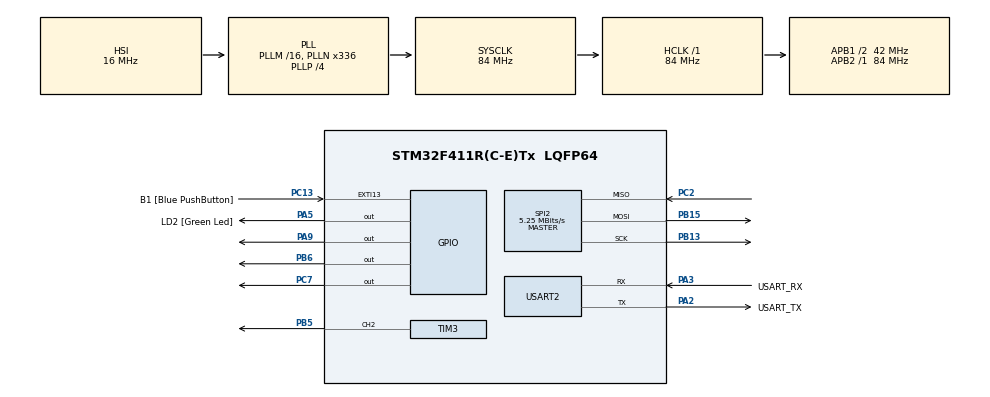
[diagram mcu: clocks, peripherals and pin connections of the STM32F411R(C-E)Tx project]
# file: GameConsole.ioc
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Mcu.Family=STM32F4
Mcu.Name=STM32F411R(C-E)Tx
Mcu.Package=LQFP64
NVIC.PriorityGroup=NVIC_PRIORITYGROUP_0
NVIC.TIM3_IRQn=true\:0\:0\:false\:false\:true\:true\:true\:true
PA13.GPIO_Label=TMS
PA13.Mode=Serial_Wire
PA13.Signal=SYS_JTMS-SWDIO
PA14.GPIO_Label=TCK
PA14.Mode=Serial_Wire
PA14.Signal=SYS_JTCK-SWCLK
PA2.GPIO_Label=USART_TX
PA2.Mode=Asynchronous
PA2.Signal=USART2_TX
PA3.GPIO_Label=USART_RX
PA3.Mode=Asynchronous
PA3.Signal=USART2_RX
PA5.GPIO_Label=LD2 [Green Led]
PA5.Signal=GPIO_Output
PA9.Signal=GPIO_Output
PB13.Mode=Full_Duplex_Master
PB13.Signal=SPI2_SCK
PB15.Mode=Full_Duplex_Master
PB15.Signal=SPI2_MOSI
PB3.GPIO_Label=SWO
PB3.Signal=SYS_JTDO-SWO
PB5.Signal=S_TIM3_CH2
PB6.Signal=GPIO_Output
PC13-ANTI_TAMP.GPIO_Label=B1 [Blue PushButton]
PC13-ANTI_TAMP.GPIO_ModeDefaultEXTI=GPIO_MODE_IT_FALLING
PC13-ANTI_TAMP.Signal=GPXTI13
PC14-OSC32_IN.Signal=RCC_OSC32_IN
PC15-OSC32_OUT.Signal=RCC_OSC32_OUT
PC2.Mode=Full_Duplex_Master
PC2.Signal=SPI2_MISO
PC7.Signal=GPIO_Output
PH0\ -\ OSC_IN.Mode=HSE-External-Oscillator
PH0\ -\ OSC_IN.Signal=RCC_OSC_IN
PH1\ -\ OSC_OUT.Mode=HSE-External-Oscillator
PH1\ -\ OSC_OUT.Signal=RCC_OSC_OUT
ProjectManager.HeapSize=0x200
ProjectManager.StackSize=0x400
ProjectManager.TargetToolchain=CMake
RCC.48MHZClocksFreq_Value=84000000
RCC.AHBFreq_Value=84000000
RCC.APB1CLKDivider=RCC_HCLK_DIV2
RCC.APB1Freq_Value=42000000
RCC.APB1TimFreq_Value=84000000
RCC.APB2Freq_Value=84000000
RCC.APB2TimFreq_Value=84000000
RCC.CortexFreq_Value=84000000
RCC.FLatency-AdvancedSettings=FLASH_LATENCY_2
RCC.HCLKFreq_Value=84000000
RCC.HSE_VALUE=8000000
RCC.HSI_VALUE=16000000
RCC.LSE_VALUE=32768
RCC.PLLN=336
RCC.PLLP=RCC_PLLP_DIV4
RCC.SYSCLKFreq_VALUE=84000000
RCC.SYSCLKSource=RCC_SYSCLKSOURCE_PLLCLK
RCC.VCOOutputFreq_Value=336000000
SH.S_TIM3_CH2.0=TIM3_CH2,PWM Generation2 CH2
SPI2.BaudRatePrescaler=SPI_BAUDRATEPRESCALER_8
SPI2.CalculateBaudRate=5.25 MBits/s
SPI2.Direction=SPI_DIRECTION_2LINES
SPI2.Mode=SPI_MODE_MASTER
SPI2.VirtualType=VM_MASTER
TIM3.Channel-PWM\ Generation2\ CH2=TIM_CHANNEL_2
TIM3.Period=999
TIM3.Prescaler=84-1
TIM3.Pulse-PWM\ Generation2\ CH2=500
USART2.VirtualMode=VM_ASYNC
board=NUCLEO-F411RE

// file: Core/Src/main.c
/* USER CODE BEGIN Header */
/**
  ******************************************************************************
  * @file           : main.c
  * @brief          : Main program body
  ******************************************************************************
  * @attention
  *
  * Copyright (c) 2026 STMicroelectronics.
  * All rights reserved.
  *
  * This software is licensed under terms that can be found in the LICENSE file
  * in the root directory of this software component.
  * If no LICENSE file comes with this software, it is provided AS-IS.
  *
  ******************************************************************************
  */
/* USER CODE END Header */
#include "main.h"

/* USER CODE BEGIN Includes */
#include "ST7735.h"
#include "stm32f411xe.h"
#include "stm32f4xx_hal_conf.h"
#include "stm32f4xx_hal_gpio.h"
#include "stdlib.h"
/* USER CODE END Includes */

SPI_HandleTypeDef hspi2;

TIM_HandleTypeDef htim3;

UART_HandleTypeDef huart2;

/* USER CODE BEGIN PV */
float ballX=45.0f;
float ballY=64.0f;
float ballVelX=1.0f;
float ballVelY=1.0f;
float paddleVel=3.5f;
float paddle1X=45.0f;
float paddle1Y=150.0f;
float paddle2X=45.0f;
float paddle2Y=5.0f;
/* USER CODE END PV */

void SystemClock_Config(void);
static void MX_GPIO_Init(void);
static void MX_SPI2_Init(void);
static void MX_USART2_UART_Init(void);
static void MX_TIM3_Init(void);

int main(void)
{

  /* MCU Configuration--------------------------------------------------------*/

  /* Reset of all peripherals, Initializes the Flash interface and the Systick. */
  HAL_Init();

  /* Configure the system clock */
  SystemClock_Config();

  /* Initialize all configured peripherals */
  MX_GPIO_Init();
  MX_SPI2_Init();
  MX_USART2_UART_Init();
  MX_TIM3_Init();
  //HAL_TIM_PWM_Start(&htim3, TIM_CHANNEL_2);
  /* USER CODE BEGIN 2 */
  ST7735_Init(0);
  ST7735_FillScreen(BLACK);

  //Button
  GPIO_InitTypeDef GPIO_InitStruct = {0};
  GPIO_InitStruct.Pin = GPIO_PIN_7 | GPIO_PIN_8;
  GPIO_InitStruct.Mode = GPIO_MODE_INPUT;
  GPIO_InitStruct.Pull = GPIO_PULLUP;
  HAL_GPIO_Init(GPIOA, &GPIO_InitStruct);

  //Button 2
  GPIO_InitTypeDef GPIO_InitStruct2 = {0};
  GPIO_InitStruct2.Pin = GPIO_PIN_5 | GPIO_PIN_3;
  GPIO_InitStruct2.Mode = GPIO_MODE_INPUT;
  GPIO_InitStruct2.Pull = GPIO_PULLUP;
  HAL_GPIO_Init(GPIOB, &GPIO_InitStruct2);

  /* USER CODE END 2 */

  /* Infinite loop */
  /* USER CODE BEGIN WHILE */
  int initialDir = (rand() % 7)+1;
  while (1)
  {
    /* USER CODE END WHILE */

    /* USER CODE BEGIN 3 */
    ST7735_FillRectangle(paddle2X, paddle2Y, 30, 5, BLACK);
    HAL_Delay(50);
    ST7735_FillRectangle(paddle1X, paddle1Y, 30, 5, BLACK);
    HAL_Delay(50);
    ST7735_FillRectangle(ballX, ballY, 3, 3, BLACK);
    HAL_Delay(50);

    /*
    //ball initial direction
    if (initialDir == 1){
      ballY -= ballVelY;
      ballX -=ballVelX;
    }
    else if (initialDir == 2){
      ballX +=ballVelX;
      ballY -=ballVelY;
    }
    else if (initialDir==3){
      ballY += ballVelY;
      ballX += ballVelX;
    }
    else if (initialDir == 4){
      ballY += ballVelY;
      ballX -= ballVelX;
    }
    else if (initialDir == 5){
      ballY-=ballVelY;
    }
    else if (initialDir == 6){
      ballY -= ballVelY;
      ballX -= ballVelX;
    }
    else if (initialDir == 7){
      ballY += ballVelY;
    }
    */
    //ball movement
    ballY -= ballVelY;

    //paddle movement (player 1)
    if (HAL_GPIO_ReadPin(GPIOA, GPIO_PIN_7) == GPIO_PIN_RESET){
      paddle1X+=paddleVel;
    }
    else if (HAL_GPIO_ReadPin(GPIOA, GPIO_PIN_8) == GPIO_PIN_RESET){
      paddle1X-=paddleVel;
    }

    //paddle movement (player 2)
    if (HAL_GPIO_ReadPin(GPIOB, GPIO_PIN_5) == GPIO_PIN_RESET){
      paddle2X+=paddleVel;
    }
    else if (HAL_GPIO_ReadPin(GPIOB, GPIO_PIN_3) == GPIO_PIN_RESET){
      paddle2X-=paddleVel;
    }

    //ball hitting paddles
    if (ballY <= paddle2Y+3 && ballX >= paddle2X && ballX <= paddle2X+30){
      ballVelY = -ballVelY;
    }
    if (ballY+3 >= paddle1Y && ballX >= paddle1X && ballX <= paddle1X+30){
      ballVelY = -ballVelY;
    }

    //boundaries for paddles
    if ((paddle1X < 0) || (paddle2X < 0)){
      paddle1X = 0;
      paddle2X = 0;
    }
    if ((paddle1X > 98) || (paddle2X > 98)){
      paddle1X = 98;
      paddle2X = 98;
    }

    //boundaries for ball
    if (ballX < 0){
      ballX = 0;
      ballVelX = -ballVelX;
    }
    else if (ballX > 125){
      ballX = 125;
      ballVelX = -ballVelX;
    }

    ST7735_FillRectangle(paddle2X, paddle2Y, 30, 5, WHITE);
    HAL_Delay(50);
    ST7735_FillRectangle(paddle1X, paddle1Y, 30, 5, WHITE);
    HAL_Delay(50);
    ST7735_FillRectangle(ballX, ballY, 3, 3, WHITE);

    /* Initial tests for screen and button
    ST7735_FillScreen(RED);
    ST7735_SetRotation(0);
    ST7735_WriteString(0, 0, "Hello World!", Font_16x26, WHITE, BLACK);
    HAL_Delay(5000);
    if (HAL_GPIO_ReadPin(GPIOA, GPIO_PIN_7) == GPIO_PIN_SET)
    {
      ST7735_FillScreen(BLUE);
      HAL_Delay(2000);
    }
    else if (HAL_GPIO_ReadPin(GPIOA, GPIO_PIN_7) ==GPIO_PIN_RESET){

      ST7735_FillScreen(RED);
      HAL_Delay(2000);
    }
    */
  }
  /* USER CODE END 3 */
}

void SystemClock_Config(void)
{
  RCC_OscInitTypeDef RCC_OscInitStruct = {0};
  RCC_ClkInitTypeDef RCC_ClkInitStruct = {0};

  /** Configure the main internal regulator output voltage
  */
  __HAL_RCC_PWR_CLK_ENABLE();
  __HAL_PWR_VOLTAGESCALING_CONFIG(PWR_REGULATOR_VOLTAGE_SCALE1);

  /** Initializes the RCC Oscillators according to the specified parameters
  * in the RCC_OscInitTypeDef structure.
  */
  RCC_OscInitStruct.OscillatorType = RCC_OSCILLATORTYPE_HSI;
  RCC_OscInitStruct.HSIState = RCC_HSI_ON;
  RCC_OscInitStruct.HSICalibrationValue = RCC_HSICALIBRATION_DEFAULT;
  RCC_OscInitStruct.PLL.PLLState = RCC_PLL_ON;
  RCC_OscInitStruct.PLL.PLLSource = RCC_PLLSOURCE_HSI;
  RCC_OscInitStruct.PLL.PLLM = 16;
  RCC_OscInitStruct.PLL.PLLN = 336;
  RCC_OscInitStruct.PLL.PLLP = RCC_PLLP_DIV4;
  RCC_OscInitStruct.PLL.PLLQ = 4;
  if (HAL_RCC_OscConfig(&RCC_OscInitStruct) != HAL_OK)
  {
    Error_Handler();
  }

  /** Initializes the CPU, AHB and APB buses clocks
  */
  RCC_ClkInitStruct.ClockType = RCC_CLOCKTYPE_HCLK|RCC_CLOCKTYPE_SYSCLK
                              |RCC_CLOCKTYPE_PCLK1|RCC_CLOCKTYPE_PCLK2;
  RCC_ClkInitStruct.SYSCLKSource = RCC_SYSCLKSOURCE_PLLCLK;
  RCC_ClkInitStruct.AHBCLKDivider = RCC_SYSCLK_DIV1;
  RCC_ClkInitStruct.APB1CLKDivider = RCC_HCLK_DIV2;
  RCC_ClkInitStruct.APB2CLKDivider = RCC_HCLK_DIV1;

  if (HAL_RCC_ClockConfig(&RCC_ClkInitStruct, FLASH_LATENCY_2) != HAL_OK)
  {
    Error_Handler();
  }
}

static void MX_SPI2_Init(void)
{

  /* SPI2 parameter configuration*/
  hspi2.Instance = SPI2;
  hspi2.Init.Mode = SPI_MODE_MASTER;
  hspi2.Init.Direction = SPI_DIRECTION_2LINES;
  hspi2.Init.DataSize = SPI_DATASIZE_8BIT;
  hspi2.Init.CLKPolarity = SPI_POLARITY_LOW;
  hspi2.Init.CLKPhase = SPI_PHASE_1EDGE;
  hspi2.Init.NSS = SPI_NSS_SOFT;
  hspi2.Init.BaudRatePrescaler = SPI_BAUDRATEPRESCALER_8;
  hspi2.Init.FirstBit = SPI_FIRSTBIT_MSB;
  hspi2.Init.TIMode = SPI_TIMODE_DISABLE;
  hspi2.Init.CRCCalculation = SPI_CRCCALCULATION_DISABLE;
  hspi2.Init.CRCPolynomial = 10;
  if (HAL_SPI_Init(&hspi2) != HAL_OK)
  {
    Error_Handler();
  }

}

static void MX_TIM3_Init(void)
{

  TIM_MasterConfigTypeDef sMasterConfig = {0};
  TIM_OC_InitTypeDef sConfigOC = {0};

  htim3.Instance = TIM3;
  htim3.Init.Prescaler = 84-1;
  htim3.Init.CounterMode = TIM_COUNTERMODE_UP;
  htim3.Init.Period = 999;
  htim3.Init.ClockDivision = TIM_CLOCKDIVISION_DIV1;
  htim3.Init.AutoReloadPreload = TIM_AUTORELOAD_PRELOAD_DISABLE;
  if (HAL_TIM_PWM_Init(&htim3) != HAL_OK)
  {
    Error_Handler();
  }
  sMasterConfig.MasterOutputTrigger = TIM_TRGO_RESET;
  sMasterConfig.MasterSlaveMode = TIM_MASTERSLAVEMODE_DISABLE;
  if (HAL_TIMEx_MasterConfigSynchronization(&htim3, &sMasterConfig) != HAL_OK)
  {
    Error_Handler();
  }
  sConfigOC.OCMode = TIM_OCMODE_PWM1;
  sConfigOC.Pulse = 500;
  sConfigOC.OCPolarity = TIM_OCPOLARITY_HIGH;
  sConfigOC.OCFastMode = TIM_OCFAST_DISABLE;
  if (HAL_TIM_PWM_ConfigChannel(&htim3, &sConfigOC, TIM_CHANNEL_2) != HAL_OK)
  {
    Error_Handler();
  }
  HAL_TIM_MspPostInit(&htim3);

}

static void MX_USART2_UART_Init(void)
{

  huart2.Instance = USART2;
  huart2.Init.BaudRate = 115200;
  huart2.Init.WordLength = UART_WORDLENGTH_8B;
  huart2.Init.StopBits = UART_STOPBITS_1;
  huart2.Init.Parity = UART_PARITY_NONE;
  huart2.Init.Mode = UART_MODE_TX_RX;
  huart2.Init.HwFlowCtl = UART_HWCONTROL_NONE;
  huart2.Init.OverSampling = UART_OVERSAMPLING_16;
  if (HAL_UART_Init(&huart2) != HAL_OK)
  {
    Error_Handler();
  }

}

static void MX_GPIO_Init(void)
{
  GPIO_InitTypeDef GPIO_InitStruct = {0};

  /* GPIO Ports Clock Enable */
  __HAL_RCC_GPIOC_CLK_ENABLE();
  __HAL_RCC_GPIOH_CLK_ENABLE();
  __HAL_RCC_GPIOA_CLK_ENABLE();
  __HAL_RCC_GPIOB_CLK_ENABLE();

  /*Configure GPIO pin Output Level */
  HAL_GPIO_WritePin(GPIOA, LD2_Pin|GPIO_PIN_9, GPIO_PIN_RESET);

  /*Configure GPIO pin Output Level */
  HAL_GPIO_WritePin(GPIOC, GPIO_PIN_7, GPIO_PIN_RESET);

  /*Configure GPIO pin Output Level */
  HAL_GPIO_WritePin(GPIOB, GPIO_PIN_6, GPIO_PIN_RESET);

  /*Configure GPIO pin : B1_Pin */
  GPIO_InitStruct.Pin = B1_Pin;
  GPIO_InitStruct.Mode = GPIO_MODE_IT_FALLING;
  GPIO_InitStruct.Pull = GPIO_NOPULL;
  HAL_GPIO_Init(B1_GPIO_Port, &GPIO_InitStruct);

  /*Configure GPIO pins : LD2_Pin PA9 */
  GPIO_InitStruct.Pin = LD2_Pin|GPIO_PIN_9;
  GPIO_InitStruct.Mode = GPIO_MODE_OUTPUT_PP;
  GPIO_InitStruct.Pull = GPIO_NOPULL;
  GPIO_InitStruct.Speed = GPIO_SPEED_FREQ_LOW;
  HAL_GPIO_Init(GPIOA, &GPIO_InitStruct);

  /*Configure GPIO pin : PC7 */
  GPIO_InitStruct.Pin = GPIO_PIN_7;
  GPIO_InitStruct.Mode = GPIO_MODE_OUTPUT_PP;
  GPIO_InitStruct.Pull = GPIO_NOPULL;
  GPIO_InitStruct.Speed = GPIO_SPEED_FREQ_LOW;
  HAL_GPIO_Init(GPIOC, &GPIO_InitStruct);

  /*Configure GPIO pin : PB6 */
  GPIO_InitStruct.Pin = GPIO_PIN_6;
  GPIO_InitStruct.Mode = GPIO_MODE_OUTPUT_PP;
  GPIO_InitStruct.Pull = GPIO_NOPULL;
  GPIO_InitStruct.Speed = GPIO_SPEED_FREQ_LOW;
  HAL_GPIO_Init(GPIOB, &GPIO_InitStruct);

}

void Error_Handler(void)
{
  __disable_irq();
  while (1)
  {
  }
}
